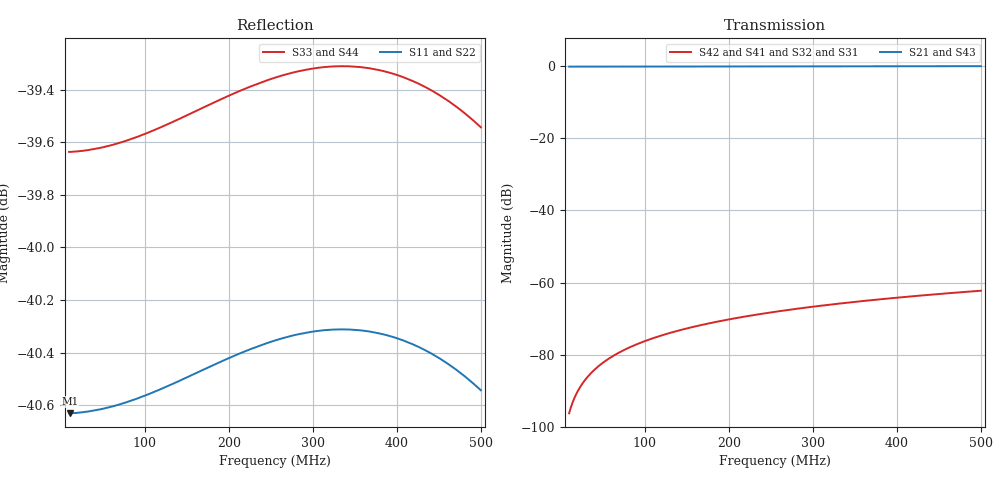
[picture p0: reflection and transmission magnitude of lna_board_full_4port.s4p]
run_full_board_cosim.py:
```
import subprocess, os

netlist_content = """# Qucs Netlist for 98 MHz Common Base LNA with Full-Board 4-Port 3D EM Co-Simulation
SUBST:Subst1 er=4.5 h=1.6mm t=35um tand=0.02 rho=1.72e-8 D=1.5e-6

# RF Ports (50 Ohm)
Pac:P1 rf_in gnd Num=1 Z=50 Ohm f=98 MHz
Pac:P2 rf_out gnd Num=2 Z=50 Ohm f=98 MHz

# Full-Board 4-Port 3D EM Model from openEMS
SPfile:PCB_FULL rf_in in_match out_match rf_out gnd File="lna_board_full_4port.s4p" Data="rectangular" Interpolator="linear" duringDC="open"

# Input BPF & Matching Network: Shunt LC Tank (L1 || C2 to GND) + Series C1 to Emitter
L:L1 in_match gnd L=22n
C:C2 in_match gnd C=27p
C:C1 in_match emitter C=91p

# Transistor Q1 MMBT5179 (Base, Collector, Emitter, Substrate)
BJT:Q1 base collector emitter gnd Is=1e-14 Nf=1 Nr=1 Ikf=0.1 Ikr=0.01 Vaf=50 Var=10 Ise=1e-14 Ne=1.5 Isc=0 Nc=2 Bf=90 Br=2 Rbm=0 Irb=0 Cje=1.2e-12 Vje=0.7 Mje=0.33 Cjc=1e-12 Vjc=0.5 Mjc=0.33 Xcjc=1 Cjs=0 Vjs=0.75 Mjs=0 Fc=0.5 Vtf=0 Tf=0.09e-9 Xtf=0 Itf=0 Tr=10e-9 Rb=10 Re=1 Rc=5 Type="npn"

# Emitter Bias & RF Choke
L:L2 emitter n_l2_2 L=470n
R:R3 n_l2_2 gnd R=200

# Base Bias & RF Grounding Bypass
Vdc:VCC vcc gnd U=5V
R:R1 vcc base R=3.9k
R:R2 base gnd R=3.3k
C:C3 base gnd C=100p
C:C4 base gnd C=1n
C:C5 base gnd C=100n

# VCC Power Decoupling
C:C11 vcc gnd C=10u
C:C12 vcc gnd C=100n

# Collector CPWG interconnect trace to tuned tank & C7 (Length = 3.0 mm)
CLIN:TL_COL collector n_c7_in Subst="Subst1" W=1.5mm S=0.35mm L=3.0mm Backside="Metal"

# Collector Tuned Tank (BPF Image Filter)
L:L3 n_c7_in vcc L=150n
C:C6 n_c7_in gnd C=6.8p
C:C7 n_c7_in out_match C=10p

# Bias Tee RF Choke & DC Decoupling at SMA Out
L:L4 rf_out n_l4_dc L=1u
C:C9 n_l4_dc gnd C=100p
C:C10 n_l4_dc gnd C=10n
R:R_BT_DUMMY n_l4_dc gnd R=100k

# Simulation Controls
.DC:DC1
.SP:SP1 Type=lin Start=10 MHz Stop=500 MHz Points=491
"""

script_dir = os.path.dirname(os.path.abspath(__file__))
net_file = os.path.join(script_dir, "lna_fm_98mhz_full_board_cosim.net")
dat_file = os.path.join(script_dir, "lna_fm_98mhz_full_board_cosim.dat")

with open(net_file, "w", newline="\n") as f:
    f.write(netlist_content)

qucsator = r"D:\Programs\Qucs-S\bin\qucsator_rf.exe"
print(f"Running qucsator on {net_file}...")
res = subprocess.run([qucsator, "-i", "lna_fm_98mhz_full_board_cosim.net", "-o", "lna_fm_98mhz_full_board_cosim.dat"], cwd=script_dir, capture_output=True, text=True)
print("Return code:", res.returncode)
print("STDOUT:\n", res.stdout)
if res.stderr:
    print("STDERR:\n", res.stderr)
if os.path.exists(dat_file):
    print(f"SUCCESS: {dat_file} created successfully! Size: {os.path.getsize(dat_file)} bytes")
```
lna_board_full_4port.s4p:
! Created with skrf 2.1.0 (http://scikit-rf.org).
# MHz S RI R 50.0
!freq ReS11 ImS11 ReS12 ImS12 ReS13 ImS13
! ReS14 ImS14
! ReS21 ImS21 ReS22 ImS22 ReS23 ImS23
! ReS24 ImS24
! ReS31 ImS31 ReS32 ImS32 ReS33 ImS33
! ReS34 ImS34
! ReS41 ImS41 ReS42 ImS42 ReS43 ImS43
! ReS44 ImS44
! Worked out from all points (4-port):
!   491 points, 10 MHz to 500 MHz, reference 50 ohm
!   strongest paths, dB at 10 MHz, 132 MHz, 255 MHz, 378 MHz, 500 MHz:
!     S21: -0.1, -0.1, -0.1, 0.0, 0.0
!     S43: -0.2, -0.1, -0.1, 0.0, 0.0
!     S42: -96.2, -73.8, -68.1, -64.7, -62.2
!     S41: -96.2, -73.8, -68.1, -64.7, -62.2
!     S32: -96.2, -73.8, -68.1, -64.7, -62.2
!     S31: -96.2, -73.8, -68.1, -64.7, -62.2
!   lowest |S11| = -40.6 dB at 11 MHz (marker M1), VSWR 1.02, Z = 49.1 + j0.0454 ohm
!   |S11| at or under -10 dB: start of sweep to end of sweep
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10  -0.00929 0.00042  0.9838 -0.00273  1.54e-05 -1.72e-07  1.54e-05 -1.72e-07
    0.9838 -0.00273  -0.00929 0.00042  1.54e-05 -1.72e-07  1.54e-05 -1.72e-07
    1.54e-05 -1.72e-07  1.54e-05 -1.72e-07  -0.0104 0.000475  0.9819 -0.00306
    1.54e-05 -1.72e-07  1.54e-05 -1.72e-07  0.9819 -0.00306  -0.0104 0.000475
11  -0.00929 0.000462  0.9838 -0.003  1.7e-05 -2.08e-07  1.7e-05 -2.08e-07
    0.9838 -0.003  -0.00929 0.000462  1.7e-05 -2.08e-07  1.7e-05 -2.08e-07
    1.7e-05 -2.08e-07  1.7e-05 -2.08e-07  -0.0104 0.000522  0.9819 -0.00337
    1.7e-05 -2.08e-07  1.7e-05 -2.08e-07  0.9819 -0.00337  -0.0104 0.000522
500  -0.00101 0.00934  0.9857 -0.1566  0.000655 -0.000408  0.000655 -0.000408
     0.9857 -0.1566  -0.00101 0.00934  0.000655 -0.000408  0.000655 -0.000408
     0.000655 -0.000408  0.000655 -0.000408  -0.000934 0.0105  0.9822 -0.1757
     0.000655 -0.000408  0.000655 -0.000408  0.9822 -0.1757  -0.000934 0.0105
